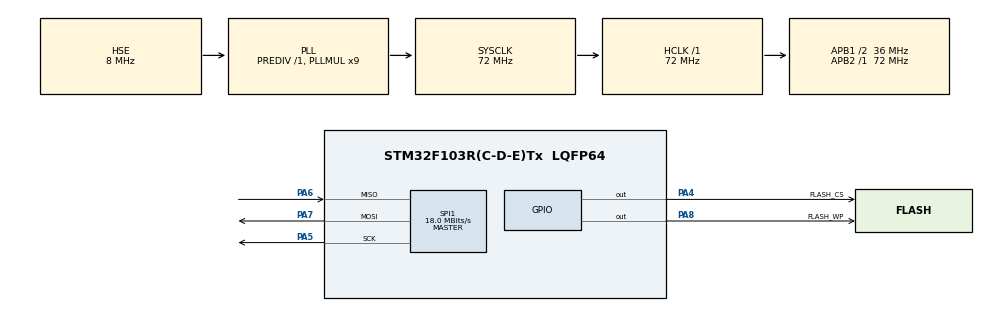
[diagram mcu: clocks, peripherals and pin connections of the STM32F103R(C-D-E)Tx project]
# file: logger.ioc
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FREERTOS.Tasks01=defaultTask,0,128,StartDefaultTask,Default,NULL
Mcu.Family=STM32F1
Mcu.Name=STM32F103R(C-D-E)Tx
Mcu.Package=LQFP64
NVIC.PriorityGroup=NVIC_PRIORITYGROUP_4
PA13.Mode=Trace_Asynchronous_SW
PA13.Signal=SYS_JTMS-SWDIO
PA14.Mode=Trace_Asynchronous_SW
PA14.Signal=SYS_JTCK-SWCLK
PA4.GPIO_Label=FLASH_CS
PA4.GPIO_Speed=GPIO_SPEED_FREQ_HIGH
PA4.PinState=GPIO_PIN_SET
PA4.Signal=GPIO_Output
PA5.Mode=Full_Duplex_Master
PA5.Signal=SPI1_SCK
PA6.Mode=Full_Duplex_Master
PA6.Signal=SPI1_MISO
PA7.Mode=Full_Duplex_Master
PA7.Signal=SPI1_MOSI
PA8.GPIO_Label=FLASH_WP
PA8.GPIO_Speed=GPIO_SPEED_FREQ_HIGH
PA8.PinState=GPIO_PIN_SET
PA8.Signal=GPIO_Output
PB3.Mode=Trace_Asynchronous_SW
PB3.Signal=SYS_JTDO-TRACESWO
PC14-OSC32_IN.Mode=LSE-External-Oscillator
PC14-OSC32_IN.Signal=RCC_OSC32_IN
PC15-OSC32_OUT.Mode=LSE-External-Oscillator
PC15-OSC32_OUT.Signal=RCC_OSC32_OUT
PD0-OSC_IN.Mode=HSE-External-Oscillator
PD0-OSC_IN.Signal=RCC_OSC_IN
PD1-OSC_OUT.Mode=HSE-External-Oscillator
PD1-OSC_OUT.Signal=RCC_OSC_OUT
ProjectManager.HeapSize=0x200
ProjectManager.StackSize=0x400
ProjectManager.TargetToolchain=MDK-ARM V5
RCC.AHBFreq_Value=72000000
RCC.APB1CLKDivider=RCC_HCLK_DIV2
RCC.APB1Freq_Value=36000000
RCC.APB1TimFreq_Value=72000000
RCC.APB2Freq_Value=72000000
RCC.APB2TimFreq_Value=72000000
RCC.HCLKFreq_Value=72000000
RCC.PLLMUL=RCC_PLL_MUL9
RCC.PLLSourceVirtual=RCC_PLLSOURCE_HSE
RCC.SYSCLKFreq_VALUE=72000000
RCC.SYSCLKSource=RCC_SYSCLKSOURCE_PLLCLK
RCC.USBFreq_Value=72000000
SPI1.BaudRatePrescaler=SPI_BAUDRATEPRESCALER_4
SPI1.CalculateBaudRate=18.0 MBits/s
SPI1.Direction=SPI_DIRECTION_2LINES
SPI1.Mode=SPI_MODE_MASTER
SPI1.VirtualType=VM_MASTER
VP_FREERTOS_VS_ENABLE.Mode=Enabled
board=logger

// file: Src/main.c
/**
  ******************************************************************************
  * @file           : main.c
  * @brief          : Main program body
  ******************************************************************************
  * This notice applies to any and all portions of this file
  * that are not between comment pairs USER CODE BEGIN and
  * USER CODE END. Other portions of this file, whether
  * inserted by the user or by software development tools
  * are owned by their respective copyright owners.
  *
  * Copyright (c) 2018 STMicroelectronics International N.V.
  * All rights reserved.
  *
  * Redistribution and use in source and binary forms, with or without
  * modification, are permitted, provided that the following conditions are met:
  *
  * 1. Redistribution of source code must retain the above copyright notice,
  *    this list of conditions and the following disclaimer.
  * 2. Redistributions in binary form must reproduce the above copyright notice,
  *    this list of conditions and the following disclaimer in the documentation
  *    and/or other materials provided with the distribution.
  * 3. Neither the name of STMicroelectronics nor the names of other
  *    contributors to this software may be used to endorse or promote products
  *    derived from this software without specific written permission.
  * 4. This software, including modifications and/or derivative works of this
  *    software, must execute solely and exclusively on microcontroller or
  *    microprocessor devices manufactured by or for STMicroelectronics.
  * 5. Redistribution and use of this software other than as permitted under
  *    this license is void and will automatically terminate your rights under
  *    this license.
  *
  * THIS SOFTWARE IS PROVIDED BY STMICROELECTRONICS AND CONTRIBUTORS "AS IS"
  * AND ANY EXPRESS, IMPLIED OR STATUTORY WARRANTIES, INCLUDING, BUT NOT
  * LIMITED TO, THE IMPLIED WARRANTIES OF MERCHANTABILITY, FITNESS FOR A
  * PARTICULAR PURPOSE AND NON-INFRINGEMENT OF THIRD PARTY INTELLECTUAL PROPERTY
  * RIGHTS ARE DISCLAIMED TO THE FULLEST EXTENT PERMITTED BY LAW. IN NO EVENT
  * SHALL STMICROELECTRONICS OR CONTRIBUTORS BE LIABLE FOR ANY DIRECT, INDIRECT,
  * INCIDENTAL, SPECIAL, EXEMPLARY, OR CONSEQUENTIAL DAMAGES (INCLUDING, BUT NOT
  * LIMITED TO, PROCUREMENT OF SUBSTITUTE GOODS OR SERVICES; LOSS OF USE, DATA,
  * OR PROFITS; OR BUSINESS INTERRUPTION) HOWEVER CAUSED AND ON ANY THEORY OF
  * LIABILITY, WHETHER IN CONTRACT, STRICT LIABILITY, OR TORT (INCLUDING
  * NEGLIGENCE OR OTHERWISE) ARISING IN ANY WAY OUT OF THE USE OF THIS SOFTWARE,
  * EVEN IF ADVISED OF THE POSSIBILITY OF SUCH DAMAGE.
  *
  ******************************************************************************
  */
#include "main.h"
#include "stm32f1xx_hal.h"
#include "cmsis_os.h"
#include "spi.h"
#include "gpio.h"

/* USER CODE BEGIN PV */
/* Private variables ---------------------------------------------------------*/

/* USER CODE END PV */

void SystemClock_Config(void);
void MX_FREERTOS_Init(void);

/* USER CODE BEGIN PFP */
/* Private function prototypes -----------------------------------------------*/

/* USER CODE END PFP */

int main(void)
{

  /* MCU Configuration----------------------------------------------------------*/

  /* Reset of all peripherals, Initializes the Flash interface and the Systick. */
  HAL_Init();

  /* Configure the system clock */
  SystemClock_Config();

  /* Initialize all configured peripherals */
  MX_GPIO_Init();
  MX_SPI1_Init();

  /* Call init function for freertos objects (in freertos.c) */
  MX_FREERTOS_Init();

  /* Start scheduler */
  osKernelStart();

  /* We should never get here as control is now taken by the scheduler */

  /* Infinite loop */
  while (1)
  {

  }

}

void SystemClock_Config(void)
{

  RCC_OscInitTypeDef RCC_OscInitStruct;
  RCC_ClkInitTypeDef RCC_ClkInitStruct;

    /**Initializes the CPU, AHB and APB busses clocks
    */
  RCC_OscInitStruct.OscillatorType = RCC_OSCILLATORTYPE_HSE;
  RCC_OscInitStruct.HSEState = RCC_HSE_ON;
  RCC_OscInitStruct.HSEPredivValue = RCC_HSE_PREDIV_DIV1;
  RCC_OscInitStruct.HSIState = RCC_HSI_ON;
  RCC_OscInitStruct.PLL.PLLState = RCC_PLL_ON;
  RCC_OscInitStruct.PLL.PLLSource = RCC_PLLSOURCE_HSE;
  RCC_OscInitStruct.PLL.PLLMUL = RCC_PLL_MUL9;
  if (HAL_RCC_OscConfig(&RCC_OscInitStruct) != HAL_OK)
  {
    _Error_Handler(__FILE__, __LINE__);
  }

    /**Initializes the CPU, AHB and APB busses clocks
    */
  RCC_ClkInitStruct.ClockType = RCC_CLOCKTYPE_HCLK|RCC_CLOCKTYPE_SYSCLK
                              |RCC_CLOCKTYPE_PCLK1|RCC_CLOCKTYPE_PCLK2;
  RCC_ClkInitStruct.SYSCLKSource = RCC_SYSCLKSOURCE_PLLCLK;
  RCC_ClkInitStruct.AHBCLKDivider = RCC_SYSCLK_DIV1;
  RCC_ClkInitStruct.APB1CLKDivider = RCC_HCLK_DIV2;
  RCC_ClkInitStruct.APB2CLKDivider = RCC_HCLK_DIV1;

  if (HAL_RCC_ClockConfig(&RCC_ClkInitStruct, FLASH_LATENCY_2) != HAL_OK)
  {
    _Error_Handler(__FILE__, __LINE__);
  }

    /**Configure the Systick interrupt time
    */
  HAL_SYSTICK_Config(HAL_RCC_GetHCLKFreq()/1000);

    /**Configure the Systick
    */
  HAL_SYSTICK_CLKSourceConfig(SYSTICK_CLKSOURCE_HCLK);

  /* SysTick_IRQn interrupt configuration */
  HAL_NVIC_SetPriority(SysTick_IRQn, 15, 0);
}

void _Error_Handler(char *file, int line)
{
  while(1)
  {
  }
}

/************************ (C) COPYRIGHT STMicroelectronics *****END OF FILE****/

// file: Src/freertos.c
/**
  ******************************************************************************
  * File Name          : freertos.c
  * Description        : Code for freertos applications
  ******************************************************************************
  * This notice applies to any and all portions of this file
  * that are not between comment pairs USER CODE BEGIN and
  * USER CODE END. Other portions of this file, whether
  * inserted by the user or by software development tools
  * are owned by their respective copyright owners.
  *
  * Copyright (c) 2018 STMicroelectronics International N.V.
  * All rights reserved.
  *
  * Redistribution and use in source and binary forms, with or without
  * modification, are permitted, provided that the following conditions are met:
  *
  * 1. Redistribution of source code must retain the above copyright notice,
  *    this list of conditions and the following disclaimer.
  * 2. Redistributions in binary form must reproduce the above copyright notice,
  *    this list of conditions and the following disclaimer in the documentation
  *    and/or other materials provided with the distribution.
  * 3. Neither the name of STMicroelectronics nor the names of other
  *    contributors to this software may be used to endorse or promote products
  *    derived from this software without specific written permission.
  * 4. This software, including modifications and/or derivative works of this
  *    software, must execute solely and exclusively on microcontroller or
  *    microprocessor devices manufactured by or for STMicroelectronics.
  * 5. Redistribution and use of this software other than as permitted under
  *    this license is void and will automatically terminate your rights under
  *    this license.
  *
  * THIS SOFTWARE IS PROVIDED BY STMICROELECTRONICS AND CONTRIBUTORS "AS IS"
  * AND ANY EXPRESS, IMPLIED OR STATUTORY WARRANTIES, INCLUDING, BUT NOT
  * LIMITED TO, THE IMPLIED WARRANTIES OF MERCHANTABILITY, FITNESS FOR A
  * PARTICULAR PURPOSE AND NON-INFRINGEMENT OF THIRD PARTY INTELLECTUAL PROPERTY
  * RIGHTS ARE DISCLAIMED TO THE FULLEST EXTENT PERMITTED BY LAW. IN NO EVENT
  * SHALL STMICROELECTRONICS OR CONTRIBUTORS BE LIABLE FOR ANY DIRECT, INDIRECT,
  * INCIDENTAL, SPECIAL, EXEMPLARY, OR CONSEQUENTIAL DAMAGES (INCLUDING, BUT NOT
  * LIMITED TO, PROCUREMENT OF SUBSTITUTE GOODS OR SERVICES; LOSS OF USE, DATA,
  * OR PROFITS; OR BUSINESS INTERRUPTION) HOWEVER CAUSED AND ON ANY THEORY OF
  * LIABILITY, WHETHER IN CONTRACT, STRICT LIABILITY, OR TORT (INCLUDING
  * NEGLIGENCE OR OTHERWISE) ARISING IN ANY WAY OUT OF THE USE OF THIS SOFTWARE,
  * EVEN IF ADVISED OF THE POSSIBILITY OF SUCH DAMAGE.
  *
  ******************************************************************************
  */

#include "FreeRTOS.h"
#include "task.h"
#include "cmsis_os.h"

/* USER CODE BEGIN Includes */
#include "key_value.h"
#include "elog.h"
/* USER CODE END Includes */

osThreadId defaultTaskHandle;

/* USER CODE BEGIN Variables */
static void elog_user_assert_hook(const char* ex, const char* func, size_t line) {
    __disable_irq();
    /* disable logger output lock */
    elog_output_lock_enabled(false);
    /* disable flash plugin lock */
//    elog_flash_lock_enabled(false);
    /* output assert information */
    elog_a("elog", "(%s) has assert failed at %s:%ld.\n", ex, func, line);
    /* write all buffered log to flash */
//    elog_flash_flush();
    while(1);
}
/* USER CODE END Variables */

void StartDefaultTask(void const * argument);

void MX_FREERTOS_Init(void); /* (MISRA C 2004 rule 8.1) */

/* Hook prototypes */

/* Init FreeRTOS */

void MX_FREERTOS_Init(void) {
  /* USER CODE BEGIN Init */
   init_key_value( 116, 117, 118 );
    if ((elog_init() == ELOG_NO_ERR)) {//(easyflash_init() == EF_NO_ERR)&&
        /* set EasyLogger log format */
        elog_set_fmt(ELOG_LVL_ASSERT, ELOG_FMT_ALL & ~ELOG_FMT_T_INFO & ~ELOG_FMT_P_INFO );
        elog_set_fmt(ELOG_LVL_ERROR, ELOG_FMT_ALL & ~ELOG_FMT_T_INFO & ~ELOG_FMT_P_INFO );
        elog_set_fmt(ELOG_LVL_WARN, ELOG_FMT_ALL & ~ELOG_FMT_T_INFO & ~ELOG_FMT_P_INFO );
        elog_set_fmt(ELOG_LVL_INFO, ELOG_FMT_ALL & ~ELOG_FMT_T_INFO & ~ELOG_FMT_P_INFO );
        elog_set_fmt(ELOG_LVL_DEBUG, ELOG_FMT_ALL & ~ELOG_FMT_T_INFO & ~ELOG_FMT_P_INFO );
        elog_set_fmt(ELOG_LVL_VERBOSE, ELOG_FMT_ALL & ~ELOG_FMT_T_INFO & ~ELOG_FMT_P_INFO );
        /* set EasyLogger assert hook */
        elog_assert_set_hook(elog_user_assert_hook);
        /* initialize EasyLogger Flash plugin */
//        elog_flash_init();
        /* start EasyLogger */
        elog_start();
        /* set EasyLogger assert hook */
        /* test logger output */
        void elog_buff_flush( void );
        elog_buff_flush();
    //        elog_flash_clean();
    }
  /* USER CODE END Init */

  /* Create the thread(s) */
  /* definition and creation of defaultTask */
  osThreadDef(defaultTask, StartDefaultTask, osPriorityNormal, 0, 128);
  defaultTaskHandle = osThreadCreate(osThread(defaultTask), NULL);

}

/* StartDefaultTask function */
void StartDefaultTask(void const * argument)
{

  /* USER CODE BEGIN StartDefaultTask */
  void elog_app_init( void );
  elog_app_init();
  key_value_test();
  elog_flush();
  osDelay(5000);
  /* Infinite loop */
  for(;;)
  {
    void elog_show( void );
    elog_show();
    osDelay(10000);

  }
  /* USER CODE END StartDefaultTask */
}

/************************ (C) COPYRIGHT STMicroelectronics *****END OF FILE****/
